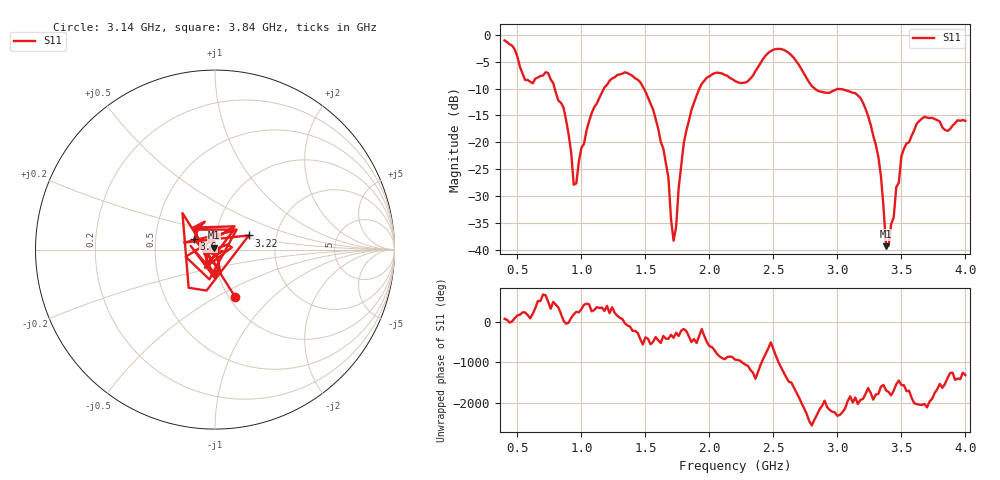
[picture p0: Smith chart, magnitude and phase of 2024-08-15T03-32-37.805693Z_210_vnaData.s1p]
!Created with skrf (http://scikit-rf.org).
# Hz S RI R 50.0
!freq ReS11 ImS11
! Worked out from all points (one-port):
!   181 points, 400 MHz to 4 GHz, reference 50 ohm
!   lowest |S11| = -39.3 dB at 3.38 GHz (marker M1), VSWR 1.02, Z = 49.6 + j1.01 ohm
!   |S11| at or under -10 dB: 791.4 MHz to 1.176 GHz (384.7 MHz wide, 39.1 % of centre); 1.488 GHz to 1.922 GHz (434.8 MHz wide, 25.5 % of centre); 2.823 GHz to end of sweep
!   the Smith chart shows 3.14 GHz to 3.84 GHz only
!   S11 on the Smith chart (normalised r, x): 3.14 GHz: 1.07, -0.61; 3.22 GHz: 1.44, +0.24; 3.6 GHz: 0.79, +0.09; 3.84 GHz: 0.96, -0.25
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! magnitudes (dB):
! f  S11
! 400 MHz  -1.1
! 560 MHz  -8.4
! 740 MHz  -7.1
! 860 MHz  -13.5
! 940 MHz  -27.9
! 960 MHz  -27.6
! 1.08 GHz  -14.6
! 1.3 GHz  -7.4
! 1.56 GHz  -13.9
! 1.68 GHz  -26.6
! 1.72 GHz  -38.3
! 1.76 GHz  -28.5
! 1.82 GHz  -17.8
! 1.94 GHz  -9.1
! 2.2 GHz  -8.6
! 2.5 GHz  -2.8
! 2.66 GHz  -4.3
! 2.84 GHz  -10.3
! 3.1 GHz  -10.6
! 3.14 GHz  -10.9
! 3.22 GHz  -13.8
! 3.32 GHz  -22.7
! 3.38 GHz  -39.3
! 3.5 GHz  -22.6
! 3.56 GHz  -20.0
! 3.6 GHz  -17.8
! 3.84 GHz  -17.7
! 4 GHz  -16.0
